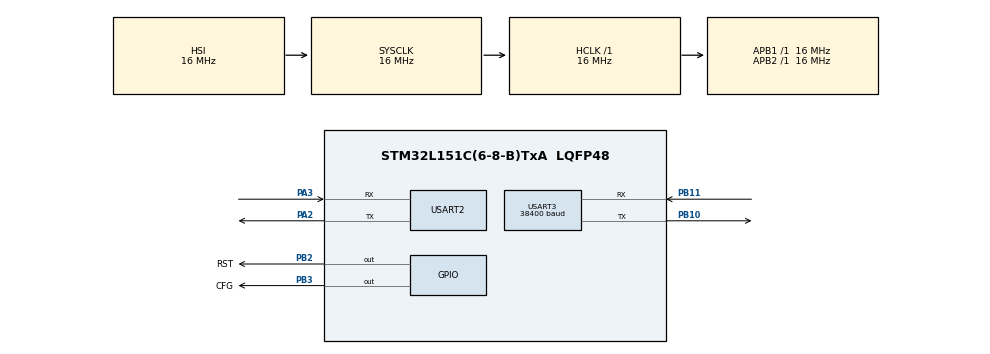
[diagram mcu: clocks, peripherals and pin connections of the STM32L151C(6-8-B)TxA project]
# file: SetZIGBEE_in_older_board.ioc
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Mcu.Family=STM32L1
Mcu.Name=STM32L151C(6-8-B)TxA
Mcu.Package=LQFP48
NVIC.PriorityGroup=NVIC_PRIORITYGROUP_4
NVIC.USART2_IRQn=true\:1\:0\:true\:false\:true\:true\:true\:true
NVIC.USART3_IRQn=true\:1\:0\:true\:false\:true\:true\:true\:true
PA13.Mode=Serial_Wire
PA13.Signal=SYS_JTMS-SWDIO
PA14.Mode=Serial_Wire
PA14.Signal=SYS_JTCK-SWCLK
PA2.Mode=Asynchronous
PA2.Signal=USART2_TX
PA3.Mode=Asynchronous
PA3.Signal=USART2_RX
PB10.Mode=Asynchronous
PB10.Signal=USART3_TX
PB11.Mode=Asynchronous
PB11.Signal=USART3_RX
PB2.GPIO_Label=RST
PB2.GPIO_ModeDefaultOutputPP=GPIO_MODE_OUTPUT_PP
PB2.GPIO_Speed=GPIO_SPEED_FREQ_LOW
PB2.PinState=GPIO_PIN_SET
PB2.Signal=GPIO_Output
PB3.GPIO_Label=CFG
PB3.GPIO_ModeDefaultOutputPP=GPIO_MODE_OUTPUT_PP
PB3.PinState=GPIO_PIN_SET
PB3.Signal=GPIO_Output
ProjectManager.HeapSize=0x200
ProjectManager.StackSize=0x400
ProjectManager.TargetToolchain=MDK-ARM V5.32
RCC.48MHZClocksFreq_Value=24000000
RCC.AHBFreq_Value=16000000
RCC.APB1Freq_Value=16000000
RCC.APB1TimFreq_Value=16000000
RCC.APB2Freq_Value=16000000
RCC.APB2TimFreq_Value=16000000
RCC.HCLKFreq_Value=16000000
RCC.HSE_VALUE=8000000
RCC.HSI_VALUE=16000000
RCC.LSE_VALUE=32768
RCC.MSI_VALUE=2097000
RCC.SYSCLKFreq_VALUE=16000000
RCC.SYSCLKSource=RCC_SYSCLKSOURCE_HSI
RCC.VCOOutputFreq_Value=48000000
USART2.VirtualMode=VM_ASYNC
USART3.BaudRate=38400
USART3.VirtualMode=VM_ASYNC
board=custom

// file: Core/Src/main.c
/* USER CODE BEGIN Header */
/**
 ******************************************************************************
 * @file           : main.c
 * @brief          : Main program body
 ******************************************************************************
 * @attention
 *
 * Copyright (c) 2026 STMicroelectronics.
 * All rights reserved.
 *
 * This software is licensed under terms that can be found in the LICENSE file
 * in the root directory of this software component.
 * If no LICENSE file comes with this software, it is provided AS-IS.
 *
 ******************************************************************************
 */
/* USER CODE END Header */
#include "main.h"
#include "usart.h"
#include "gpio.h"

/* USER CODE BEGIN PD */
#define Rx_Buffer_Size 15
uint8_t Rx_Buffer[Rx_Buffer_Size];
uint8_t Rx_Zigbee[Rx_Buffer_Size];
uint8_t Zigbee_CFG[2] = {0x23, 0xA0}; // 查询参数,返回A2+14byte
uint8_t Zigbee_SET[2] = {0x23, 0xFE}; // 设置参数
uint8_t Zigbee_RST[2] = {0x23, 0x23}; // 设备重启 CFG 必须高电平
uint8_t Zigbee_getFlag = RESET;       // CFG接收完成标志
// uint8_t Zigbee_setFlag = RESET; // CFG设置完成标志
uint8_t Uart2_RxFlag = RESET; // 串口2接收完成标志
/*
(byte-meaning)：
    2-模块地址,网络ID,中心节点,主从发送,波特率
    无校验,数据8N1,地址编码HEX,串口超时,无线频点,发射功率,源地址不输出
*/
uint8_t Master_CFG[14] = {0x00, 0x00, // address
                          0x10,       // NET_ID
                          0x01,       // NET_Type
                          0x01,       // Point_Type
                          0x02,       // TR_Mode
                          0x06,       // Baudrate 38400
                          0x01,       // 校验位
                          0x01,       // 8N1
                          0x02,       // address code:HEX
                          0xFF,
                          0x0A,
                          0x00,
                          0x01};
/* USER CODE END PD */

void SystemClock_Config(void);

/* USER CODE BEGIN 0 */
void Zigbee_CFGstart(void)
{
    cfg_start;
    HAL_Delay(3000);
}
void Zigbee_CFGExit(void)
{
    HAL_Delay(50);
    cfg_end;
    HAL_Delay(50);
    HAL_UART_Transmit(&huart3, Zigbee_RST, 2, 100);
}
void Zigbee_getCFG(uint8_t *CFG_Buffer)
{
    Zigbee_CFGstart();
    HAL_UART_Transmit(&huart3, Zigbee_CFG, 2, 100);
    HAL_UART_Receive_IT(&huart3, CFG_Buffer, 15);
}
void Zigbee_setCFG(uint8_t *CFG)
{
    Zigbee_CFGstart();
    HAL_UART_Transmit(&huart3, Zigbee_SET, 2, 100);
    HAL_UART_Transmit(&huart3, CFG, 14, 800);
    Zigbee_CFGExit();
    HAL_UART_Transmit(&huart2, (uint8_t *)"CFG SET\r\n", 9, 100);
}
void Clear_Buffer(uint8_t *Buffer, uint8_t Size)
{
    for (uint8_t i = 0; i < Size; i++)
    {
        Buffer[i] = 0;
    }
}
/* USER CODE END 0 */

int main(void)
{

    /* MCU Configuration--------------------------------------------------------*/

    /* Reset of all peripherals, Initializes the Flash interface and the Systick. */
    HAL_Init();

    /* Configure the system clock */
    SystemClock_Config();

    /* Initialize all configured peripherals */
    MX_GPIO_Init();
    MX_USART2_UART_Init();
    MX_USART3_UART_Init();
    /* USER CODE BEGIN 2 */
    HAL_UART_Transmit(&huart2, (uint8_t *)"Start\r\n", 7, 100);
    HAL_UART_Receive_IT(&huart2, Rx_Buffer, 2); // 启动串口2接收中断，等待电脑发送命令
                                                /* USER CODE END 2 */

    /* Infinite loop */
    /* USER CODE BEGIN WHILE */
    while (1)
    {
        if (Uart2_RxFlag == SET)
        {
            Uart2_RxFlag = RESET;
            if (Rx_Buffer[0] == '#')
            {
                if (Rx_Buffer[1] == '1')
                {
                    Zigbee_getCFG(Rx_Zigbee);
                }
                else if (Rx_Buffer[1] == '2')
                {
                    Zigbee_setCFG(Master_CFG);
                }
            }
            else
            {
                HAL_UART_Transmit(&huart2, (uint8_t *)"Invalid Command\r\n", 17, 200);
            }
            HAL_UART_Receive_IT(&huart2, Rx_Buffer, 2); // 继续接收下一条命令
        }
        if (Zigbee_getFlag == SET)
        {
            Zigbee_getFlag = RESET;
            Zigbee_CFGExit();
            HAL_UART_Transmit(&huart2, Rx_Zigbee, Rx_Buffer_Size, 800); // 将查询到的参数通过串口2发送回电脑
            Clear_Buffer(Rx_Zigbee, Rx_Buffer_Size);
        }
        /* USER CODE END WHILE */

    }
}

void SystemClock_Config(void)
{
    RCC_OscInitTypeDef RCC_OscInitStruct = {0};
    RCC_ClkInitTypeDef RCC_ClkInitStruct = {0};

    /** Configure the main internal regulator output voltage
     */
    __HAL_PWR_VOLTAGESCALING_CONFIG(PWR_REGULATOR_VOLTAGE_SCALE1);

    /** Initializes the RCC Oscillators according to the specified parameters
     * in the RCC_OscInitTypeDef structure.
     */
    RCC_OscInitStruct.OscillatorType = RCC_OSCILLATORTYPE_HSI;
    RCC_OscInitStruct.HSIState = RCC_HSI_ON;
    RCC_OscInitStruct.HSICalibrationValue = RCC_HSICALIBRATION_DEFAULT;
    RCC_OscInitStruct.PLL.PLLState = RCC_PLL_NONE;
    if (HAL_RCC_OscConfig(&RCC_OscInitStruct) != HAL_OK)
    {
        Error_Handler();
    }

    /** Initializes the CPU, AHB and APB buses clocks
     */
    RCC_ClkInitStruct.ClockType = RCC_CLOCKTYPE_HCLK | RCC_CLOCKTYPE_SYSCLK | RCC_CLOCKTYPE_PCLK1 | RCC_CLOCKTYPE_PCLK2;
    RCC_ClkInitStruct.SYSCLKSource = RCC_SYSCLKSOURCE_HSI;
    RCC_ClkInitStruct.AHBCLKDivider = RCC_SYSCLK_DIV1;
    RCC_ClkInitStruct.APB1CLKDivider = RCC_HCLK_DIV1;
    RCC_ClkInitStruct.APB2CLKDivider = RCC_HCLK_DIV1;

    if (HAL_RCC_ClockConfig(&RCC_ClkInitStruct, FLASH_LATENCY_0) != HAL_OK)
    {
        Error_Handler();
    }
}

/* USER CODE BEGIN 4 */
void HAL_UART_RxCpltCallback(UART_HandleTypeDef *huart)
{
    if (huart->Instance == USART3)
    {
        Zigbee_getFlag = SET;
    }
    else if (huart->Instance == USART2)
    {
        Uart2_RxFlag = SET;
    }
}
/* USER CODE END 4 */

void Error_Handler(void)
{
    __disable_irq();
    while (1)
    {
    }
}
